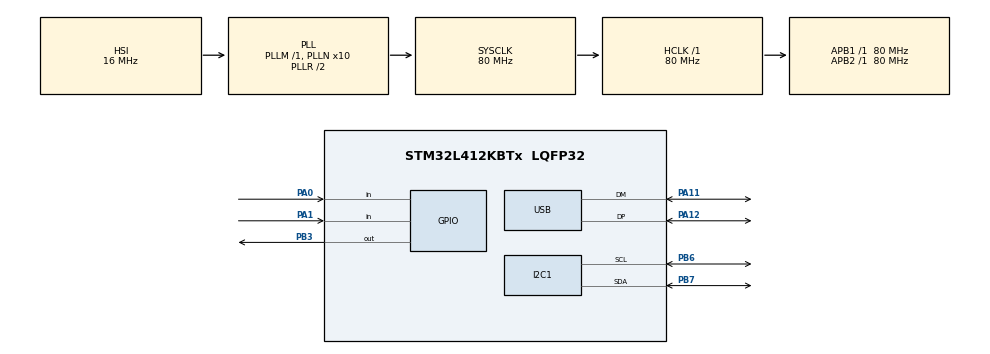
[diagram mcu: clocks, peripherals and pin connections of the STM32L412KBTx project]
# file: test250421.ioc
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Mcu.Family=STM32L4
RCC.MSI_VALUE=48000000
RCC.PLLSourceVirtual=RCC_PLLSOURCE_HSI
RCC.CortexFreq_Value=80000000
PA11.Mode=Device
RCC.SYSCLKSource=RCC_SYSCLKSOURCE_PLLCLK
ProjectManager.StackSize=0x400
PA12.Signal=USB_DP
PB3\ (JTDO/TRACESWO).Signal=GPIO_Output
ProjectManager.TargetToolchain=STM32CubeIDE
RCC.HCLKFreq_Value=80000000
RCC.APB2TimFreq_Value=80000000
PB6.Signal=I2C1_SCL
I2C1.Timing=0x10909CEC
PB6.Mode=I2C
RCC.USBFreq_Value=48000000
RCC.LSE_VALUE=32768
PA1.Signal=GPIO_Input
RCC.AHBFreq_Value=80000000
RCC.HSE_VALUE=8000000
board=custom
RCC.VCOOutputFreq_Value=160000000
PA0-CK_IN.Signal=GPIO_Input
RCC.APB2Freq_Value=80000000
RCC.ADCFreq_Value=80000000
PB7.Signal=I2C1_SDA
Mcu.Name=STM32L412KBTx
RCC.SYSCLKFreq_VALUE=80000000
Mcu.Package=LQFP32
PA12.Mode=Device
PB7.Mode=I2C
PA11.Signal=USB_DM
ProjectManager.HeapSize=0x200
RCC.HSI_VALUE=16000000
NVIC.PriorityGroup=NVIC_PRIORITYGROUP_4
RCC.PLLN=10
RCC.APB1TimFreq_Value=80000000
RCC.APB1Freq_Value=80000000
RCC.MSIClockRange=RCC_MSIRANGE_11
RCC.HSI48_VALUE=48000000

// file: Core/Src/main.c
/* USER CODE BEGIN Header */
/**
  ******************************************************************************
  * @file           : main.c
  * @brief          : Main program body
  ******************************************************************************
  * @attention
  *
  * <h2><center>&copy; Copyright (c) 2021 STMicroelectronics.
  * All rights reserved.</center></h2>
  *
  * This software component is licensed by ST under BSD 3-Clause license,
  * the "License"; You may not use this file except in compliance with the
  * License. You may obtain a copy of the License at:
  *                        opensource.org/licenses/BSD-3-Clause
  *
  ******************************************************************************
  */
/* USER CODE END Header */
#include "main.h"
#include "usb_device.h"
/* USER CODE BEGIN Includes */
#include "usbd_midi.h"
/* USER CODE END Includes */

I2C_HandleTypeDef hi2c1;

PCD_HandleTypeDef hpcd_USB_FS;

void SystemClock_Config(void);
static void MX_GPIO_Init(void);
static void MX_I2C1_Init(void);
//static void MX_USB_PCD_Init(void);

/* USER CODE BEGIN 0 */
USBD_MIDI_MessageTypeDef exti_msg[3];
extern USBD_HandleTypeDef hUsbDeviceFS;

int module_mode = 1; //0 = master
                     //1 = slave

#define STM32_UUID ((uint32_t *)0x1FFFF7ACU)
uint8_t I2C_address = 1;

int slave_number = 0;
int slave_address[16];

int n;
int encoder0PinALast = 0;
uint8_t encoder0Pos = 0;
/* USER CODE END 0 */

int main(void)
{
  /* USER CODE BEGIN 1 */
	uint32_t idPart1 = (STM32_UUID[0]&0x0008F000)>>12;
  uint32_t idPart2 = (STM32_UUID[1]&0x00FFF000)>>12;
  uint32_t idPart3 = (STM32_UUID[2]&0x00000F00)>>8;

	uint8_t data[3];

  data[0] = 0;     // 0x0C in your example
  data[1] = 0;    // MSB byte of 16bit data
	data[2] = 0;

	int count = 0;
  /* USER CODE END 1 */

  /* MCU Configuration--------------------------------------------------------*/

  /* Reset of all peripherals, Initializes the Flash interface and the Systick. */
  HAL_Init();

  /* Configure the system clock */
  SystemClock_Config();

  /* Initialize all configured peripherals */
  MX_GPIO_Init();
  MX_I2C1_Init();
  MX_USB_DEVICE_Init();
  /* USER CODE BEGIN 2 */
  HAL_Delay(4000);

  //--------------------------------------
  //------- MASTER MODE ------------------
  //--------------------------------------
  	if(hUsbDeviceFS.dev_state == USBD_STATE_CONFIGURED){
  		module_mode = 0;
  		int i = 0;
  	  while(i<2)
  		{
  			HAL_GPIO_TogglePin(GPIOB,GPIO_PIN_3);
  			HAL_Delay(300);
  			HAL_GPIO_TogglePin(GPIOB,GPIO_PIN_3);
  			HAL_Delay(300);
  			i++;
  		}
  		HAL_Delay(500);
  		i = 0;
  	  while(i<127)
  		{
  		   if(HAL_I2C_Master_Receive(&hi2c1, i, data, 3,20)==HAL_OK)
  		   {
  					HAL_GPIO_TogglePin(GPIOB,GPIO_PIN_3);
  				  HAL_Delay(300);
  				  HAL_GPIO_TogglePin(GPIOB,GPIO_PIN_3);
  				  HAL_Delay(300);

  				  slave_address[slave_number] = i;
  				  slave_number++;
  			 }
  			 i++;
  		 }
  	}

  //--------------------------------------
  //-------- SLAVE MODE ------------------
  //--------------------------------------
  	else
  	{
  		I2C_address = idPart1;
  		MX_I2C1_Init();
  		while(HAL_I2C_Slave_Transmit(&hi2c1, data, 3, 100)!=HAL_OK) {}
  		int i = 0;
  	  while(i<2)
  		{
  			HAL_GPIO_TogglePin(GPIOB,GPIO_PIN_3);
  			HAL_Delay(300);
  			HAL_GPIO_TogglePin(GPIOB,GPIO_PIN_3);
  			HAL_Delay(300);
  			i++;
  		}

  	}
  /* USER CODE END 2 */

  /* Infinite loop */
  while (1)
  {

    /* USER CODE BEGIN 3 */
	  /*		if(hUsbDeviceFS.dev_state == USBD_STATE_CONFIGURED){
	  		  exti_msg[0] = MIDI_MAKE_EVENT(0, MIDI_EVENT_NOTE_ON, 60, 100);
	  		  USBD_MIDI_SendEvent(&hUsbDeviceFS, exti_msg[0]);
	  			HAL_Delay(500);
	  			exti_msg[0] = MIDI_MAKE_EVENT(0, MIDI_EVENT_NOTE_OFF, 60, 0);
	  			USBD_MIDI_SendEvent(&hUsbDeviceFS, exti_msg[0]);
	  			HAL_Delay(1000);
	  		}*/
	  //--------------------------------------
	  //------- MASTER MODE ------------------
	  //--------------------------------------
	  		if(module_mode==0)
	  		{
	  			int i =0;
	  			while (i<slave_number)
	  			{
	  				if(HAL_I2C_Master_Receive(&hi2c1, slave_address[i], data, 3,2)==HAL_OK)
	  		    {
	  /*					HAL_GPIO_TogglePin(GPIOB,GPIO_PIN_3);
	  			    HAL_Delay(300);
	  					HAL_GPIO_TogglePin(GPIOB,GPIO_PIN_3);
	  			    HAL_Delay(300);*/
	  					if(data[0]==1)
	  					{
	  						exti_msg[0] = MIDI_MAKE_EVENT(0, MIDI_EVENT_NOTE_ON, slave_address[i], 100);
	  		        USBD_MIDI_SendEvent(&hUsbDeviceFS, exti_msg[0]);
	  					}
	  				}
	  				i++;
	  			}

	  			n = HAL_GPIO_ReadPin(GPIOA, GPIO_PIN_0);
	        if ((encoder0PinALast == 0) && (n == 1)) {
	          if (HAL_GPIO_ReadPin(GPIOA, GPIO_PIN_1) == 0) {
	            if(encoder0Pos>0)
	  					{
	  						encoder0Pos--;
	  						HAL_Delay(10);
	  					}
	          } else {
	            if(encoder0Pos<127)
	  					{
	  						encoder0Pos++;
	  						HAL_Delay(10);
	  					}
	  					exti_msg[0] = MIDI_MAKE_EVENT(0, MIDI_EVENT_CC, 15, encoder0Pos);
	  		      USBD_MIDI_SendEvent(&hUsbDeviceFS, exti_msg[0]);
	          }
	        }
	        encoder0PinALast = n;
	  			HAL_GPIO_TogglePin(GPIOB,GPIO_PIN_3);
	  			HAL_Delay(3000);
	  			HAL_GPIO_TogglePin(GPIOB,GPIO_PIN_3);
	  			HAL_Delay(300);
	  		}

	  //--------------------------------------
	  //-------- SLAVE MODE ------------------
	  //--------------------------------------
	  		if(module_mode==1)
	  		{
	  /*			if(count>1000) {

	  				count=0;
	  				data[0] = 1;
	  			}
	  			else {
	  				count++;
	  			}
	  			if(HAL_I2C_Slave_Transmit(&hi2c1, data, 3, 100)==HAL_OK) {
	  				if(data[0]==1) data[0] = 0;
	  			}
	  			HAL_Delay(1);*/
	  			HAL_I2C_Slave_Transmit(&hi2c1, data, 3, 2);
	  			n = HAL_GPIO_ReadPin(GPIOA, GPIO_PIN_0);
	        if ((encoder0PinALast == 0) && (n == 1)) {
	          if (HAL_GPIO_ReadPin(GPIOA, GPIO_PIN_1) == 0) {
	            if(encoder0Pos>0)
	  					{
	  						encoder0Pos--;
	  						HAL_GPIO_TogglePin(GPIOB,GPIO_PIN_3);
	  			      HAL_Delay(300);
	  					  HAL_GPIO_TogglePin(GPIOB,GPIO_PIN_3);
	  			      HAL_Delay(300);
	  					}
	          } else {
	            if(encoder0Pos<127)
	  					{
	  						encoder0Pos++;
	  						HAL_GPIO_TogglePin(GPIOB,GPIO_PIN_3);
	  			      HAL_Delay(300);
	  					  HAL_GPIO_TogglePin(GPIOB,GPIO_PIN_3);
	  			      HAL_Delay(300);
	  						HAL_GPIO_TogglePin(GPIOB,GPIO_PIN_3);
	  				    HAL_Delay(300);
	  				    HAL_GPIO_TogglePin(GPIOB,GPIO_PIN_3);
	  				    HAL_Delay(300);
	  					}
	          }
	        }
	        encoder0PinALast = n;

	  		}

	    }
}
  /* USER CODE END 3 */

void SystemClock_Config(void)
{
  RCC_OscInitTypeDef RCC_OscInitStruct = {0};
  RCC_ClkInitTypeDef RCC_ClkInitStruct = {0};
  RCC_PeriphCLKInitTypeDef PeriphClkInit = {0};

  /** Configure the main internal regulator output voltage
  */
  if (HAL_PWREx_ControlVoltageScaling(PWR_REGULATOR_VOLTAGE_SCALE1) != HAL_OK)
  {
    Error_Handler();
  }
  /** Initializes the RCC Oscillators according to the specified parameters
  * in the RCC_OscInitTypeDef structure.
  */
  RCC_OscInitStruct.OscillatorType = RCC_OSCILLATORTYPE_HSI|RCC_OSCILLATORTYPE_MSI;
  RCC_OscInitStruct.HSIState = RCC_HSI_ON;
  RCC_OscInitStruct.HSICalibrationValue = RCC_HSICALIBRATION_DEFAULT;
  RCC_OscInitStruct.MSIState = RCC_MSI_ON;
  RCC_OscInitStruct.MSICalibrationValue = 0;
  RCC_OscInitStruct.MSIClockRange = RCC_MSIRANGE_11;
  RCC_OscInitStruct.PLL.PLLState = RCC_PLL_ON;
  RCC_OscInitStruct.PLL.PLLSource = RCC_PLLSOURCE_HSI;
  RCC_OscInitStruct.PLL.PLLM = 1;
  RCC_OscInitStruct.PLL.PLLN = 10;
  RCC_OscInitStruct.PLL.PLLQ = RCC_PLLQ_DIV2;
  RCC_OscInitStruct.PLL.PLLR = RCC_PLLR_DIV2;
  if (HAL_RCC_OscConfig(&RCC_OscInitStruct) != HAL_OK)
  {
    Error_Handler();
  }
  /** Initializes the CPU, AHB and APB buses clocks
  */
  RCC_ClkInitStruct.ClockType = RCC_CLOCKTYPE_HCLK|RCC_CLOCKTYPE_SYSCLK
                              |RCC_CLOCKTYPE_PCLK1|RCC_CLOCKTYPE_PCLK2;
  RCC_ClkInitStruct.SYSCLKSource = RCC_SYSCLKSOURCE_PLLCLK;
  RCC_ClkInitStruct.AHBCLKDivider = RCC_SYSCLK_DIV1;
  RCC_ClkInitStruct.APB1CLKDivider = RCC_HCLK_DIV1;
  RCC_ClkInitStruct.APB2CLKDivider = RCC_HCLK_DIV1;

  if (HAL_RCC_ClockConfig(&RCC_ClkInitStruct, FLASH_LATENCY_4) != HAL_OK)
  {
    Error_Handler();
  }
  PeriphClkInit.PeriphClockSelection = RCC_PERIPHCLK_I2C1|RCC_PERIPHCLK_USB;
  PeriphClkInit.I2c1ClockSelection = RCC_I2C1CLKSOURCE_PCLK1;
  PeriphClkInit.UsbClockSelection = RCC_USBCLKSOURCE_MSI;
  if (HAL_RCCEx_PeriphCLKConfig(&PeriphClkInit) != HAL_OK)
  {
    Error_Handler();
  }
}

static void MX_I2C1_Init(void)
{

  hi2c1.Instance = I2C1;
  hi2c1.Init.Timing = 0x10909CEC;
  hi2c1.Init.OwnAddress1 = 0;
  hi2c1.Init.AddressingMode = I2C_ADDRESSINGMODE_7BIT;
  hi2c1.Init.DualAddressMode = I2C_DUALADDRESS_DISABLE;
  hi2c1.Init.OwnAddress2 = 0;
  hi2c1.Init.OwnAddress2Masks = I2C_OA2_NOMASK;
  hi2c1.Init.GeneralCallMode = I2C_GENERALCALL_DISABLE;
  hi2c1.Init.NoStretchMode = I2C_NOSTRETCH_DISABLE;
  if (HAL_I2C_Init(&hi2c1) != HAL_OK)
  {
    Error_Handler();
  }
  /** Configure Analogue filter
  */
  if (HAL_I2CEx_ConfigAnalogFilter(&hi2c1, I2C_ANALOGFILTER_ENABLE) != HAL_OK)
  {
    Error_Handler();
  }
  /** Configure Digital filter
  */
  if (HAL_I2CEx_ConfigDigitalFilter(&hi2c1, 0) != HAL_OK)
  {
    Error_Handler();
  }

}

static void MX_USB_PCD_Init(void)
{

  hpcd_USB_FS.Instance = USB;
  hpcd_USB_FS.Init.dev_endpoints = 8;
  hpcd_USB_FS.Init.speed = PCD_SPEED_FULL;
  hpcd_USB_FS.Init.phy_itface = PCD_PHY_EMBEDDED;
  hpcd_USB_FS.Init.Sof_enable = DISABLE;
  hpcd_USB_FS.Init.low_power_enable = DISABLE;
  hpcd_USB_FS.Init.lpm_enable = DISABLE;
  hpcd_USB_FS.Init.battery_charging_enable = DISABLE;
  if (HAL_PCD_Init(&hpcd_USB_FS) != HAL_OK)
  {
    Error_Handler();
  }

}

static void MX_GPIO_Init(void)
{
  GPIO_InitTypeDef GPIO_InitStruct = {0};

  /* GPIO Ports Clock Enable */
  __HAL_RCC_GPIOA_CLK_ENABLE();
  __HAL_RCC_GPIOB_CLK_ENABLE();

  /*Configure GPIO pin Output Level */
  HAL_GPIO_WritePin(GPIOB, GPIO_PIN_3, GPIO_PIN_RESET);

  /*Configure GPIO pins : PA0 PA1 */
  GPIO_InitStruct.Pin = GPIO_PIN_0|GPIO_PIN_1;
  GPIO_InitStruct.Mode = GPIO_MODE_INPUT;
  GPIO_InitStruct.Pull = GPIO_NOPULL;
  HAL_GPIO_Init(GPIOA, &GPIO_InitStruct);

  /*Configure GPIO pin : PB3 */
  GPIO_InitStruct.Pin = GPIO_PIN_3;
  GPIO_InitStruct.Mode = GPIO_MODE_OUTPUT_PP;
  GPIO_InitStruct.Pull = GPIO_NOPULL;
  GPIO_InitStruct.Speed = GPIO_SPEED_FREQ_LOW;
  HAL_GPIO_Init(GPIOB, &GPIO_InitStruct);

}

void Error_Handler(void)
{
  __disable_irq();
  while (1)
  {
  }
}

/************************ (C) COPYRIGHT STMicroelectronics *****END OF FILE****/
